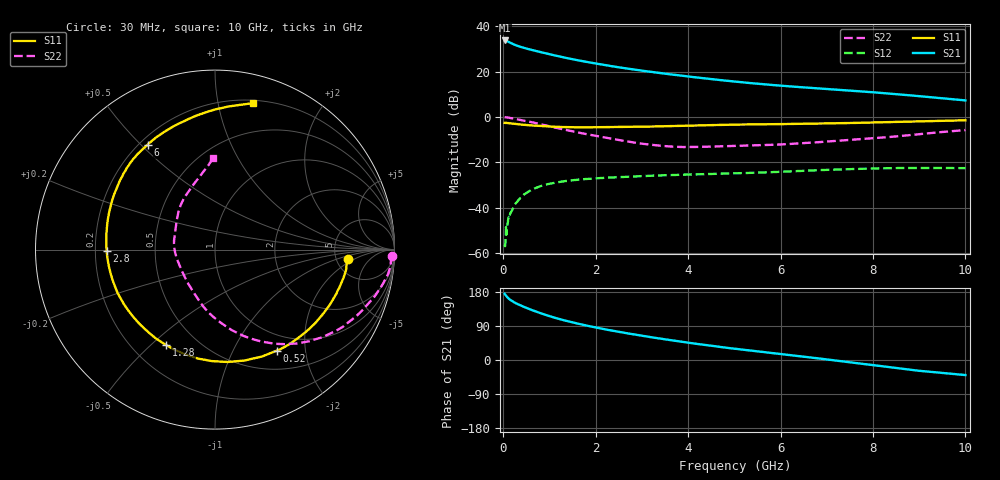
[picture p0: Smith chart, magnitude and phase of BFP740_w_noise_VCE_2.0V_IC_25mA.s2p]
! Infineon Technologies  Discrete & RF Semiconductors
! BFP740
! VCE =  2.0 V,  IC =  25 mA
! Common Emitter S-Parameters:  Jan 2016
# GHz  S  MA  R  50
!  f  S11  S21  S12  S22
! GHz  MAG  ANG  MAG  ANG  MAG  ANG  MAG  ANG
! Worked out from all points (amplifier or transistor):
!   229 points, 30 MHz to 10 GHz, reference 50 ohm
!   highest |S21| = 33.8 dB at 30 MHz (marker M1)
!   |S21| within 3 dB of that: start of sweep to 403.6 MHz
!   unconditionally stable (mu >= 1): 5.833 GHz to end of sweep
!   at 280 MHz: K = 0.26, MSG = 34.8 dB, |S12| = -37.9 dB
!   at 1.78 GHz: K = 0.49, MSG = 25.9 dB, |S12| = -27.4 dB
!   at 10 GHz: K = 1.02, MAG = 14.1 dB, |S12| = -22.6 dB
!   lowest NFmin = 0.78 dB at 450 MHz
!   S11 on the Smith chart (normalised r, x): 30 MHz: 6.35, -1.53; 520 MHz: 0.76, -1.51; 1.28 GHz: 0.34, -0.56; 2.8 GHz: 0.25, -0.00; 6 GHz: 0.23, +0.52; 10 GHz: 0.22, +1.27
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0.03  0.7412 -4.2  48.8 174.7  0.0015 75.1  0.984 -2.0
0.06  0.7394 -8.5  48.33 169.8  0.0037 76.2  0.983 -5.1
0.11  0.7276 -14.9  45.77 163.1  0.0056 83.3  0.9663 -9.5
0.14  0.7203 -18.6  44.08 159.8  0.0066 82.6  0.9532 -11.8
0.195  0.7107 -24.9  41.41 155.1  0.0088 79.0  0.9301 -15.7
0.26  0.6982 -32.1  38.8 150.6  0.012 74.3  0.9031 -19.9
0.34  0.6853 -40.6  36.17 145.9  0.0151 70.8  0.8722 -24.9
0.52  0.6597 -58.6  31.96 136.7  0.0216 62.8  0.8033 -34.9
0.7  0.6394 -75.2  28.71 128.1  0.027 55.9  0.7331 -44.1
0.9  0.6214 -91.6  25.67 119.6  0.0317 49.0  0.658 -53.2
1.1  0.6065 -106.1  23 112.0  0.0351 43.9  0.5884 -61.4
1.28  0.597 -117.3  20.91 105.9  0.0375 39.8  0.5361 -67.8
1.7  0.59 -139.2  17.15 93.6  0.0418 32.8  0.4359 -81.1
2.2  0.5942 -159.7  13.94 81.0  0.0454 26.8  0.3511 -96.1
2.8  0.6034 -179.4  11.24 68.0  0.0483 22.2  0.2752 -113.7
3.4  0.62 164.6  9.291 56.4  0.0511 18.3  0.2314 -134.7
4.3  0.6512 145.3  7.212 40.7  0.0545 13.7  0.2186 -167.2
5.1  0.6775 133.0  5.914 28.4  0.0571 10.3  0.2309 171.8
6  0.6943 122.7  4.903 15.8  0.0615 7.6  0.2464 153.2
6.8  0.7136 113.7  4.269 4.5  0.0664 3.4  0.276 139.4
8.4  0.7728 92.1  3.249 -19.6  0.074 -8.1  0.3633 112.5
10  0.8435 75.3  2.316 -39.7  0.074 -17.9  0.5129 91.0
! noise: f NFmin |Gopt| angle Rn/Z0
0.45  0.78  0.07  178  0.26
0.9  0.79  0.08  -174  0.26
1.5  0.81  0.08  -169  0.25
1.9  0.82  0.09  -163  0.24
2.4  0.85  0.09  -156  0.23
3.5  0.95  0.1  -144  0.21
5.5  1.11  0.22  -105  0.19
10  1.46  0.52  -65  0.28
